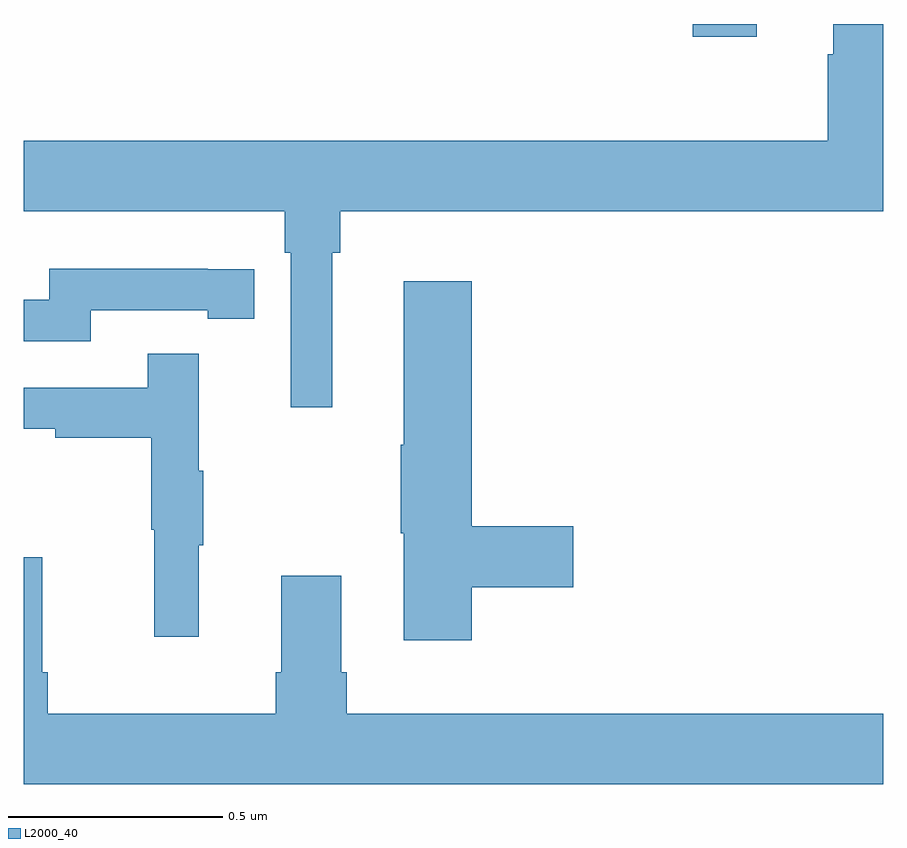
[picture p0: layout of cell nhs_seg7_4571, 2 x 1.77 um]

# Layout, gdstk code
import gdstk
lib = gdstk.Library(unit=1e-6, precision=1e-09)
def R(c, l, rs):  # rectangles x0, y0, x1, y1
    for r in rs: c.add(gdstk.rectangle(r[:2], r[2:], *l))
def P(c, l, *ps):  # polygons
    for p in ps: c.add(gdstk.Polygon(p, *l))
L2000_40 = (2000, 40)

nhs_seg7_4571 = lib.new_cell('nhs_seg7_4571')
R(nhs_seg7_4571, L2000_40, [(175.557,1052.97,175.705,1053)])
P(nhs_seg7_4571, L2000_40, [(174.718,1052.468),(174.737,1052.468),(174.737,1052.564),(176,1052.564),(176,1053),(175.883,1053),(175.883,1052.93),(175.871,1052.93),(175.871,1052.728),(174,1052.728),(174,1052.564),(174.608,1052.564),(174.608,1052.468),(174.621,1052.468),(174.621,1052.109),(174.718,1052.109)],
  [(174.156,1052.334),(174.428,1052.334),(174.428,1052.314),(174.536,1052.314),(174.536,1052.43),(174.428,1052.43),(174.428,1052.431),(174.06,1052.431),(174.06,1052.358),(174,1052.358),(174,1052.262),(174.156,1052.262)],
  [(175.043,1051.69),(175.279,1051.69),(175.279,1051.832),(175.043,1051.832),(175.043,1052.401),(174.884,1052.401),(174.884,1052.021),(174.877,1052.021),(174.877,1051.815),(174.884,1051.815),(174.884,1051.566),(175.043,1051.566)],
  [(174.407,1051.787),(174.418,1051.787),(174.418,1051.961),(174.407,1051.961),(174.407,1052.233),(174.289,1052.233),(174.289,1052.154),(174,1052.154),(174,1052.058),(174.073,1052.058),(174.073,1052.038),(174.297,1052.038),(174.297,1051.824),(174.304,1051.824),(174.304,1051.575),(174.407,1051.575)],
  [(176,1051.396),(174.752,1051.396),(174.752,1051.492),(174.739,1051.492),(174.739,1051.717),(174.599,1051.717),(174.599,1051.492),(174.587,1051.492),(174.587,1051.396),(174.056,1051.396),(174.056,1051.492),(174.043,1051.492),(174.043,1051.759),(174,1051.759),(174,1051.232),(176,1051.232)])

lib.write_gds('nhs_seg7_4571.gds')
